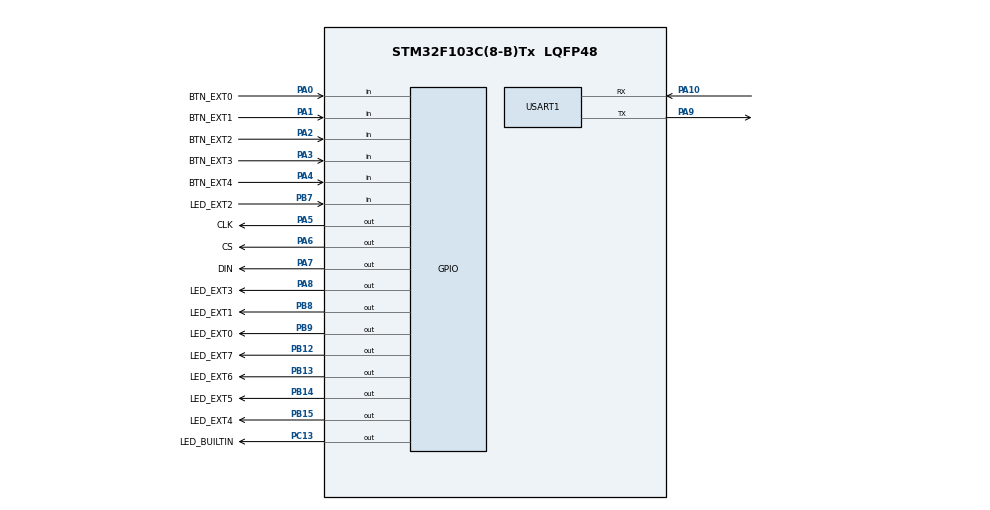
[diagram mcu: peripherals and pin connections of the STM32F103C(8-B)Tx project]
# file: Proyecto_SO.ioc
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FREERTOS.BinarySemaphores01=binarySem_uart,Dynamic,NULL;binarySem_mesa_pedidos_disponible,Dynamic,NULL;binarySem_mesa_hamburguesas_disponible,Dynamic,NULL;binarySem_mesa_ordenes_disponible,Dynamic,NULL;binarySem_mesa_pedidos_ocupada,Dynamic,NULL;binarySem_mesa_hamburguesas_ocupada,Dynamic,NULL;binarySem_mesa_ordenes_ocupada,Dynamic,NULL;binarySem_orden,Dynamic,NULL;binarySem_cocinar_hamburguesas,Dynamic,NULL;binarySem_jungla_disponible,Dynamic,NULL;binarySem_bot_disponible,Dynamic,NULL
FREERTOS.CountingSemaphores01=Sem_lugares_ocupados,1,Dynamic,NULL;Sem_lugares_disponibles,2,Dynamic,NULL;Sem_lugares_mesa_hamburguesa,8,Dynamic,NULL
FREERTOS.Tasks01=produceTask,0,128,produce,Default,NULL,Dynamic,NULL,NULL;consumeTask,0,128,consume,Default,NULL,Dynamic,NULL,NULL;menuTask,2,128,menu,Default,NULL,Dynamic,NULL,NULL;despachadorTask,0,128,despachador,Default,NULL,Dynamic,NULL,NULL;empacadorTask,0,128,empacador,Default,NULL,Dynamic,NULL,NULL;cocineroTask,0,128,cocinero,Default,NULL,Dynamic,NULL,NULL;cajeroTask,0,128,cajero,Default,NULL,Dynamic,NULL,NULL;clienteTask,0,128,cliente,Default,NULL,Dynamic,NULL,NULL;printMatrixTask,1,128,printMatrix,Default,NULL,Dynamic,NULL,NULL;pedir_ayudaTask,1,128,pedir_ayuda,Default,NULL,Dynamic,NULL,NULL;asegurar_zonaTa,1,128,asegurar_zona,Default,NULL,Dynamic,NULL,NULL;matar_dragonTas,1,128,matar_dragon,Default,NULL,Dynamic,NULL,NULL
FREERTOS.configTOTAL_HEAP_SIZE=10240
FREERTOS.configUSE_COUNTING_SEMAPHORES=1
Mcu.Family=STM32F1
Mcu.Name=STM32F103C(8-B)Tx
Mcu.Package=LQFP48
NVIC.PriorityGroup=NVIC_PRIORITYGROUP_4
NVIC.TIM1_UP_IRQn=true\:0\:0\:false\:false\:true\:false\:false\:true
NVIC.TIM2_IRQn=true\:5\:0\:false\:false\:true\:true\:true\:true
NVIC.TimeBase=TIM1_UP_IRQn
NVIC.TimeBaseIP=TIM1
PA0-WKUP.GPIO_Label=BTN_EXT0
PA0-WKUP.GPIO_PuPd=GPIO_PULLUP
PA0-WKUP.Signal=GPIO_Input
PA1.GPIO_Label=BTN_EXT1
PA1.GPIO_Mode=GPIO_MODE_INPUT
PA1.GPIO_PuPd=GPIO_PULLUP
PA1.Signal=GPIO_Input
PA10.Mode=Asynchronous
PA10.Signal=USART1_RX
PA13.Mode=Serial_Wire
PA13.Signal=SYS_JTMS-SWDIO
PA14.Mode=Serial_Wire
PA14.Signal=SYS_JTCK-SWCLK
PA2.GPIO_Label=BTN_EXT2
PA2.GPIO_Mode=GPIO_MODE_INPUT
PA2.GPIO_PuPd=GPIO_PULLUP
PA2.Signal=GPIO_Input
PA3.GPIO_Label=BTN_EXT3
PA3.GPIO_Mode=GPIO_MODE_INPUT
PA3.GPIO_PuPd=GPIO_PULLUP
PA3.Signal=GPIO_Input
PA4.GPIO_Label=BTN_EXT4
PA4.GPIO_Mode=GPIO_MODE_INPUT
PA4.GPIO_PuPd=GPIO_PULLUP
PA4.Signal=GPIO_Input
PA5.GPIO_Label=CLK
PA5.Signal=GPIO_Output
PA6.GPIO_Label=CS
PA6.Signal=GPIO_Output
PA7.GPIO_Label=DIN
PA7.Signal=GPIO_Output
PA8.GPIO_Label=LED_EXT3
PA8.Signal=GPIO_Output
PA9.Mode=Asynchronous
PA9.Signal=USART1_TX
PB12.GPIO_Label=LED_EXT7
PB12.Signal=GPIO_Output
PB13.GPIO_Label=LED_EXT6
PB13.Signal=GPIO_Output
PB14.GPIO_Label=LED_EXT5
PB14.Signal=GPIO_Output
PB15.GPIO_Label=LED_EXT4
PB15.Signal=GPIO_Output
PB7.GPIO_Label=LED_EXT2
PB7.Signal=GPIO_Input
PB8.GPIO_Label=LED_EXT1
PB8.Signal=GPIO_Output
PB9.GPIO_Label=LED_EXT0
PB9.Signal=GPIO_Output
PC13-TAMPER-RTC.GPIO_Label=LED_BUILTIN
PC13-TAMPER-RTC.Signal=GPIO_Output
ProjectManager.HeapSize=0x200
ProjectManager.StackSize=0x400
ProjectManager.TargetToolchain=STM32CubeIDE
RCC.APB1Freq_Value=8000000
RCC.APB2Freq_Value=8000000
TIM2.AutoReloadPreload=TIM_AUTORELOAD_PRELOAD_ENABLE
TIM2.Period=8000-1
TIM2.Prescaler=1000-1
USART1.VirtualMode=VM_ASYNC
VP_FREERTOS_VS_CMSIS_V1.Mode=CMSIS_V1
VP_SYS_VS_tim1.Mode=TIM1
VP_TIM2_VS_ClockSourceINT.Mode=Internal
board=custom

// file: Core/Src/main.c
/* USER CODE BEGIN Header */
/**
  ******************************************************************************
  * @file           : main.c
  * @brief          : Main program body
  ******************************************************************************
  * @attention
  *
  * <h2><center>&copy; Copyright (c) 2021 STMicroelectronics.
  * All rights reserved.</center></h2>
  *
  * This software component is licensed by ST under Ultimate Liberty license
  * SLA0044, the "License"; You may not use this file except in compliance with
  * the License. You may obtain a copy of the License at:
  *                             www.st.com/SLA0044
  *
  ******************************************************************************
  */
/* USER CODE END Header */
#include "main.h"
#include "cmsis_os.h"

/* USER CODE BEGIN Includes */
#include <stdbool.h>
#include <string.h>
/* USER CODE END Includes */

/* USER CODE BEGIN PD */
#define DELAY 300
/* USER CODE END PD */

TIM_HandleTypeDef htim2;

UART_HandleTypeDef huart1;

osThreadId produceTaskHandle;
osThreadId consumeTaskHandle;
osThreadId menuTaskHandle;
osThreadId despachadorTaskHandle;
osThreadId empacadorTaskHandle;
osThreadId cocineroTaskHandle;
osThreadId cajeroTaskHandle;
osThreadId clienteTaskHandle;
osThreadId printMatrixTaskHandle;
osThreadId pedir_ayudaTaskHandle;
osThreadId asegurar_zonaTaHandle;
osThreadId matar_dragonTasHandle;
osSemaphoreId binarySem_uartHandle;
osSemaphoreId binarySem_mesa_pedidos_disponibleHandle;
osSemaphoreId binarySem_mesa_hamburguesas_disponibleHandle;
osSemaphoreId binarySem_mesa_ordenes_disponibleHandle;
osSemaphoreId binarySem_mesa_pedidos_ocupadaHandle;
osSemaphoreId binarySem_mesa_hamburguesas_ocupadaHandle;
osSemaphoreId binarySem_mesa_ordenes_ocupadaHandle;
osSemaphoreId binarySem_ordenHandle;
osSemaphoreId binarySem_cocinar_hamburguesasHandle;
osSemaphoreId binarySem_jungla_disponibleHandle;
osSemaphoreId binarySem_bot_disponibleHandle;
osSemaphoreId Sem_lugares_ocupadosHandle;
osSemaphoreId Sem_lugares_disponiblesHandle;
osSemaphoreId Sem_lugares_mesa_hamburguesaHandle;
/* USER CODE BEGIN PV */
bool run_first_exercise = false, run_second_exercise = false, run_our_exercise = false;
bool zona_asegurada = false, dragon_disponible = true;
uint8_t disp1ay[41][8]={
{0b00000000,0b01111110,0b10000001,0b10000001,0b10000001,0b10000001,0b01111110,0b00000000},
{0b00000000,0b10000000,0b10000100,0b10000010,0b11111111,0b10000000,0b10000000,0b00000000},
{0b00000000,0b10000010,0b11000001,0b10100001,0b10010001,0b10001110,0b00000000,0b00000000},
{0b00000000,0b10000001,0b10000001,0b10011001,0b10011001,0b10100101,0b01100110,0b00000000},
{0b00010000,0b00011000,0b00010100,0b00010010,0b11111111,0b00010000,0b00010000,0b00000000},
{0b00000000,0b10000001,0b10000111,0b10000101,0b10001001,0b11010001,0b01100001,0b00000000},
{0b00000000,0b00000000,0b11111100,0b10010010,0b10010001,0b10010001,0b11110000,0b00000000},
{0b00000000,0b00000000,0b00000011,0b00000001,0b11110001,0b00001001,0b00000111,0b00000000},
{0b00000000,0b11000011,0b10100101,0b10011001,0b10011001,0b10100101,0b11000011,0b00000000},
{0b00000000,0b00000000,0b10001111,0b10001001,0b01001001,0b00101001,0b00011111,0b00000000},
{0x18,0x24,0x42,0x42,0x7E,0x42,0x42,0x42},//A
{0x3C,0x22,0x22,0x3c,0x22,0x22,0x3C,0x0},//B
{0x3C,0x40,0x40,0x40,0x40,0x40,0x40,0x3C},//C
{0x7C,0x22,0x22,0x22,0x22,0x22,0x22,0x7C},//D
{0x7C,0x40,0x40,0x7C,0x40,0x40,0x40,0x7C},//E
{0x7C,0x40,0x40,0x7C,0x40,0x40,0x40,0x40},//F
{0x3C,0x40,0x40,0x40,0x4c,0x44,0x44,0x3C},//G
{0x44,0x44,0x44,0x7C,0x44,0x44,0x44,0x44},//H
{0x7C,0x10,0x10,0x10,0x10,0x10,0x10,0x7C},//I
{0x3C,0x8,0x8,0x8,0x8,0x8,0x48,0x30},//J
{0x0,0x24,0x28,0x30,0x20,0x30,0x28,0x24},//K
{0x40,0x40,0x40,0x40,0x40,0x40,0x40,0x7C},//L
{0x81,0xC3,0xA5,0x99,0x81,0x81,0x81,0x81},//M
{0x0,0x42,0x62,0x52,0x4A,0x46,0x42,0x0},//N
{0x3C,0x42,0x42,0x42,0x42,0x42,0x42,0x3C},//O
{0x3C,0x22,0x22,0x22,0x3C,0x20,0x20,0x20},//P
{0x1C,0x22,0x22,0x22,0x22,0x26,0x22,0x1D},//Q
{0x3C,0x22,0x22,0x22,0x3C,0x24,0x22,0x21},//R
{0x0,0x1E,0x20,0x20,0x3E,0x2,0x2,0x3C},//S
{0x0,0x3E,0x8,0x8,0x8,0x8,0x8,0x8},//T
{0x42,0x42,0x42,0x42,0x42,0x42,0x22,0x1C},//U
{0x42,0x42,0x42,0x42,0x42,0x42,0x24,0x18},//V
{0x0,0x49,0x49,0x49,0x49,0x2A,0x1C,0x0},//W
{0x0,0x41,0x22,0x14,0x8,0x14,0x22,0x41},//X
{0x41,0x22,0x14,0x8,0x8,0x8,0x8,0x8},//Y
{0x0,0x7F,0x2,0x4,0x8,0x10,0x20,0x7F},//Z
{0b00000000,0b00100110,0b00101010,0b00110010,0b00000000,0b00111110,0b00100010,0b00111110},	// SO
{0b00000000,0b00111110,0b00001010,0b00001110,0b00000000,0b00000010,0b00111010,0b00000110},	// P7
{0b00000000,0b00111110,0b00001010,0b00001110,0b00000000,0b00111110,0b00101010,0b00111110},	// P8
{0b00000111,0b00000100,0b01111000,0b01001000,0b01111000,0b00000000,0b11100000,0b10000000},	// LOL
{0b00011100,0b00011000,0b01110000,0b11111110,0b11111100,0b01110100,0b00011000,0b00011100}	// Dragón

};
uint16_t timer_cnt = 0;
/* USER CODE END PV */

void SystemClock_Config(void);
static void MX_GPIO_Init(void);
static void MX_USART1_UART_Init(void);
static void MX_TIM2_Init(void);
void produce(void const * argument);
void consume(void const * argument);
void menu(void const * argument);
void despachador(void const * argument);
void empacador(void const * argument);
void cocinero(void const * argument);
void cajero(void const * argument);
void cliente(void const * argument);
void printMatrix(void const * argument);
void pedir_ayuda(void const * argument);
void asegurar_zona(void const * argument);
void matar_dragon(void const * argument);

/* USER CODE BEGIN PFP */
void write_byte(uint8_t byte);
void write_max(uint8_t address, uint8_t data);
void max_init(void);
void write_string (char *str);
/* USER CODE END PFP */

int main(void)
{

  /* MCU Configuration--------------------------------------------------------*/

  /* Reset of all peripherals, Initializes the Flash interface and the Systick. */
  HAL_Init();

  /* Configure the system clock */
  SystemClock_Config();

  /* Initialize all configured peripherals */
  MX_GPIO_Init();
  MX_USART1_UART_Init();
  MX_TIM2_Init();

  /* Create the semaphores(s) */
  /* definition and creation of binarySem_uart */
  osSemaphoreDef(binarySem_uart);
  binarySem_uartHandle = osSemaphoreCreate(osSemaphore(binarySem_uart), 1);

  /* definition and creation of binarySem_mesa_pedidos_disponible */
  osSemaphoreDef(binarySem_mesa_pedidos_disponible);
  binarySem_mesa_pedidos_disponibleHandle = osSemaphoreCreate(osSemaphore(binarySem_mesa_pedidos_disponible), 1);

  /* definition and creation of binarySem_mesa_hamburguesas_disponible */
  osSemaphoreDef(binarySem_mesa_hamburguesas_disponible);
  binarySem_mesa_hamburguesas_disponibleHandle = osSemaphoreCreate(osSemaphore(binarySem_mesa_hamburguesas_disponible), 1);

  /* definition and creation of binarySem_mesa_ordenes_disponible */
  osSemaphoreDef(binarySem_mesa_ordenes_disponible);
  binarySem_mesa_ordenes_disponibleHandle = osSemaphoreCreate(osSemaphore(binarySem_mesa_ordenes_disponible), 1);

  /* definition and creation of binarySem_mesa_pedidos_ocupada */
  osSemaphoreDef(binarySem_mesa_pedidos_ocupada);
  binarySem_mesa_pedidos_ocupadaHandle = osSemaphoreCreate(osSemaphore(binarySem_mesa_pedidos_ocupada), 1);

  /* definition and creation of binarySem_mesa_hamburguesas_ocupada */
  osSemaphoreDef(binarySem_mesa_hamburguesas_ocupada);
  binarySem_mesa_hamburguesas_ocupadaHandle = osSemaphoreCreate(osSemaphore(binarySem_mesa_hamburguesas_ocupada), 1);

  /* definition and creation of binarySem_mesa_ordenes_ocupada */
  osSemaphoreDef(binarySem_mesa_ordenes_ocupada);
  binarySem_mesa_ordenes_ocupadaHandle = osSemaphoreCreate(osSemaphore(binarySem_mesa_ordenes_ocupada), 1);

  /* definition and creation of binarySem_orden */
  osSemaphoreDef(binarySem_orden);
  binarySem_ordenHandle = osSemaphoreCreate(osSemaphore(binarySem_orden), 1);

  /* definition and creation of binarySem_cocinar_hamburguesas */
  osSemaphoreDef(binarySem_cocinar_hamburguesas);
  binarySem_cocinar_hamburguesasHandle = osSemaphoreCreate(osSemaphore(binarySem_cocinar_hamburguesas), 1);

  /* definition and creation of binarySem_jungla_disponible */
  osSemaphoreDef(binarySem_jungla_disponible);
  binarySem_jungla_disponibleHandle = osSemaphoreCreate(osSemaphore(binarySem_jungla_disponible), 1);

  /* definition and creation of binarySem_bot_disponible */
  osSemaphoreDef(binarySem_bot_disponible);
  binarySem_bot_disponibleHandle = osSemaphoreCreate(osSemaphore(binarySem_bot_disponible), 1);

  /* definition and creation of Sem_lugares_ocupados */
  osSemaphoreDef(Sem_lugares_ocupados);
  Sem_lugares_ocupadosHandle = osSemaphoreCreate(osSemaphore(Sem_lugares_ocupados), 1);

  /* definition and creation of Sem_lugares_disponibles */
  osSemaphoreDef(Sem_lugares_disponibles);
  Sem_lugares_disponiblesHandle = osSemaphoreCreate(osSemaphore(Sem_lugares_disponibles), 2);

  /* definition and creation of Sem_lugares_mesa_hamburguesa */
  osSemaphoreDef(Sem_lugares_mesa_hamburguesa);
  Sem_lugares_mesa_hamburguesaHandle = osSemaphoreCreate(osSemaphore(Sem_lugares_mesa_hamburguesa), 8);

  /* USER CODE BEGIN RTOS_SEMAPHORES */
  /* add semaphores, ... */
  // Ejercicio 7
  osSemaphoreWait(Sem_lugares_ocupadosHandle, osWaitForever);

  // Ejercicio 8
  osSemaphoreWait(binarySem_mesa_pedidos_ocupadaHandle, osWaitForever);
  osSemaphoreWait(binarySem_mesa_hamburguesas_ocupadaHandle, osWaitForever);
  osSemaphoreWait(binarySem_mesa_ordenes_ocupadaHandle, osWaitForever);

  osSemaphoreWait(binarySem_ordenHandle, osWaitForever);
  osSemaphoreWait(binarySem_cocinar_hamburguesasHandle, osWaitForever);

  // Ejercicio propuesto
  max_init();
  for(int i =1; i<9; i++) write_max(i, disp1ay[36][i-1]);
  osSemaphoreWait(binarySem_bot_disponibleHandle, osWaitForever);
  osSemaphoreWait(binarySem_jungla_disponibleHandle, osWaitForever);
  /* USER CODE END RTOS_SEMAPHORES */

  /* Create the thread(s) */
  /* definition and creation of produceTask */
  osThreadDef(produceTask, produce, osPriorityNormal, 0, 128);
  produceTaskHandle = osThreadCreate(osThread(produceTask), NULL);

  /* definition and creation of consumeTask */
  osThreadDef(consumeTask, consume, osPriorityNormal, 0, 128);
  consumeTaskHandle = osThreadCreate(osThread(consumeTask), NULL);

  /* definition and creation of menuTask */
  osThreadDef(menuTask, menu, osPriorityHigh, 0, 128);
  menuTaskHandle = osThreadCreate(osThread(menuTask), NULL);

  /* definition and creation of despachadorTask */
  osThreadDef(despachadorTask, despachador, osPriorityNormal, 0, 128);
  despachadorTaskHandle = osThreadCreate(osThread(despachadorTask), NULL);

  /* definition and creation of empacadorTask */
  osThreadDef(empacadorTask, empacador, osPriorityNormal, 0, 128);
  empacadorTaskHandle = osThreadCreate(osThread(empacadorTask), NULL);

  /* definition and creation of cocineroTask */
  osThreadDef(cocineroTask, cocinero, osPriorityNormal, 0, 128);
  cocineroTaskHandle = osThreadCreate(osThread(cocineroTask), NULL);

  /* definition and creation of cajeroTask */
  osThreadDef(cajeroTask, cajero, osPriorityNormal, 0, 128);
  cajeroTaskHandle = osThreadCreate(osThread(cajeroTask), NULL);

  /* definition and creation of clienteTask */
  osThreadDef(clienteTask, cliente, osPriorityNormal, 0, 128);
  clienteTaskHandle = osThreadCreate(osThread(clienteTask), NULL);

  /* definition and creation of printMatrixTask */
  osThreadDef(printMatrixTask, printMatrix, osPriorityAboveNormal, 0, 128);
  printMatrixTaskHandle = osThreadCreate(osThread(printMatrixTask), NULL);

  /* definition and creation of pedir_ayudaTask */
  osThreadDef(pedir_ayudaTask, pedir_ayuda, osPriorityAboveNormal, 0, 128);
  pedir_ayudaTaskHandle = osThreadCreate(osThread(pedir_ayudaTask), NULL);

  /* definition and creation of asegurar_zonaTa */
  osThreadDef(asegurar_zonaTa, asegurar_zona, osPriorityAboveNormal, 0, 128);
  asegurar_zonaTaHandle = osThreadCreate(osThread(asegurar_zonaTa), NULL);

  /* definition and creation of matar_dragonTas */
  osThreadDef(matar_dragonTas, matar_dragon, osPriorityAboveNormal, 0, 128);
  matar_dragonTasHandle = osThreadCreate(osThread(matar_dragonTas), NULL);

  /* Start scheduler */
  osKernelStart();

  /* We should never get here as control is now taken by the scheduler */
  /* Infinite loop */
  while (1)
  {

  }
}

void SystemClock_Config(void)
{
  RCC_OscInitTypeDef RCC_OscInitStruct = {0};
  RCC_ClkInitTypeDef RCC_ClkInitStruct = {0};

  /** Initializes the RCC Oscillators according to the specified parameters
  * in the RCC_OscInitTypeDef structure.
  */
  RCC_OscInitStruct.OscillatorType = RCC_OSCILLATORTYPE_HSI;
  RCC_OscInitStruct.HSIState = RCC_HSI_ON;
  RCC_OscInitStruct.HSICalibrationValue = RCC_HSICALIBRATION_DEFAULT;
  RCC_OscInitStruct.PLL.PLLState = RCC_PLL_NONE;
  if (HAL_RCC_OscConfig(&RCC_OscInitStruct) != HAL_OK)
  {
    Error_Handler();
  }
  /** Initializes the CPU, AHB and APB buses clocks
  */
  RCC_ClkInitStruct.ClockType = RCC_CLOCKTYPE_HCLK|RCC_CLOCKTYPE_SYSCLK
                              |RCC_CLOCKTYPE_PCLK1|RCC_CLOCKTYPE_PCLK2;
  RCC_ClkInitStruct.SYSCLKSource = RCC_SYSCLKSOURCE_HSI;
  RCC_ClkInitStruct.AHBCLKDivider = RCC_SYSCLK_DIV1;
  RCC_ClkInitStruct.APB1CLKDivider = RCC_HCLK_DIV1;
  RCC_ClkInitStruct.APB2CLKDivider = RCC_HCLK_DIV1;

  if (HAL_RCC_ClockConfig(&RCC_ClkInitStruct, FLASH_LATENCY_0) != HAL_OK)
  {
    Error_Handler();
  }
}

static void MX_TIM2_Init(void)
{

  TIM_ClockConfigTypeDef sClockSourceConfig = {0};
  TIM_MasterConfigTypeDef sMasterConfig = {0};

  htim2.Instance = TIM2;
  htim2.Init.Prescaler = 1000-1;
  htim2.Init.CounterMode = TIM_COUNTERMODE_UP;
  htim2.Init.Period = 8000-1;
  htim2.Init.ClockDivision = TIM_CLOCKDIVISION_DIV1;
  htim2.Init.AutoReloadPreload = TIM_AUTORELOAD_PRELOAD_ENABLE;
  if (HAL_TIM_Base_Init(&htim2) != HAL_OK)
  {
    Error_Handler();
  }
  sClockSourceConfig.ClockSource = TIM_CLOCKSOURCE_INTERNAL;
  if (HAL_TIM_ConfigClockSource(&htim2, &sClockSourceConfig) != HAL_OK)
  {
    Error_Handler();
  }
  sMasterConfig.MasterOutputTrigger = TIM_TRGO_RESET;
  sMasterConfig.MasterSlaveMode = TIM_MASTERSLAVEMODE_DISABLE;
  if (HAL_TIMEx_MasterConfigSynchronization(&htim2, &sMasterConfig) != HAL_OK)
  {
    Error_Handler();
  }

}

static void MX_USART1_UART_Init(void)
{

  huart1.Instance = USART1;
  huart1.Init.BaudRate = 115200;
  huart1.Init.WordLength = UART_WORDLENGTH_8B;
  huart1.Init.StopBits = UART_STOPBITS_1;
  huart1.Init.Parity = UART_PARITY_NONE;
  huart1.Init.Mode = UART_MODE_TX_RX;
  huart1.Init.HwFlowCtl = UART_HWCONTROL_NONE;
  huart1.Init.OverSampling = UART_OVERSAMPLING_16;
  if (HAL_UART_Init(&huart1) != HAL_OK)
  {
    Error_Handler();
  }

}

static void MX_GPIO_Init(void)
{
  GPIO_InitTypeDef GPIO_InitStruct = {0};

  /* GPIO Ports Clock Enable */
  __HAL_RCC_GPIOC_CLK_ENABLE();
  __HAL_RCC_GPIOA_CLK_ENABLE();
  __HAL_RCC_GPIOB_CLK_ENABLE();

  /*Configure GPIO pin Output Level */
  HAL_GPIO_WritePin(LED_BUILTIN_GPIO_Port, LED_BUILTIN_Pin, GPIO_PIN_RESET);

  /*Configure GPIO pin Output Level */
  HAL_GPIO_WritePin(GPIOA, CLK_Pin|CS_Pin|DIN_Pin|LED_EXT3_Pin, GPIO_PIN_RESET);

  /*Configure GPIO pin Output Level */
  HAL_GPIO_WritePin(GPIOB, LED_EXT7_Pin|LED_EXT6_Pin|LED_EXT5_Pin|LED_EXT4_Pin
                          |LED_EXT1_Pin|LED_EXT0_Pin, GPIO_PIN_RESET);

  /*Configure GPIO pin : LED_BUILTIN_Pin */
  GPIO_InitStruct.Pin = LED_BUILTIN_Pin;
  GPIO_InitStruct.Mode = GPIO_MODE_OUTPUT_PP;
  GPIO_InitStruct.Pull = GPIO_NOPULL;
  GPIO_InitStruct.Speed = GPIO_SPEED_FREQ_LOW;
  HAL_GPIO_Init(LED_BUILTIN_GPIO_Port, &GPIO_InitStruct);

  /*Configure GPIO pins : BTN_EXT0_Pin BTN_EXT1_Pin BTN_EXT2_Pin BTN_EXT3_Pin
                           BTN_EXT4_Pin */
  GPIO_InitStruct.Pin = BTN_EXT0_Pin|BTN_EXT1_Pin|BTN_EXT2_Pin|BTN_EXT3_Pin
                          |BTN_EXT4_Pin;
  GPIO_InitStruct.Mode = GPIO_MODE_INPUT;
  GPIO_InitStruct.Pull = GPIO_PULLUP;
  HAL_GPIO_Init(GPIOA, &GPIO_InitStruct);

  /*Configure GPIO pins : CLK_Pin CS_Pin DIN_Pin LED_EXT3_Pin */
  GPIO_InitStruct.Pin = CLK_Pin|CS_Pin|DIN_Pin|LED_EXT3_Pin;
  GPIO_InitStruct.Mode = GPIO_MODE_OUTPUT_PP;
  GPIO_InitStruct.Pull = GPIO_NOPULL;
  GPIO_InitStruct.Speed = GPIO_SPEED_FREQ_LOW;
  HAL_GPIO_Init(GPIOA, &GPIO_InitStruct);

  /*Configure GPIO pins : LED_EXT7_Pin LED_EXT6_Pin LED_EXT5_Pin LED_EXT4_Pin
                           LED_EXT1_Pin LED_EXT0_Pin */
  GPIO_InitStruct.Pin = LED_EXT7_Pin|LED_EXT6_Pin|LED_EXT5_Pin|LED_EXT4_Pin
                          |LED_EXT1_Pin|LED_EXT0_Pin;
  GPIO_InitStruct.Mode = GPIO_MODE_OUTPUT_PP;
  GPIO_InitStruct.Pull = GPIO_NOPULL;
  GPIO_InitStruct.Speed = GPIO_SPEED_FREQ_LOW;
  HAL_GPIO_Init(GPIOB, &GPIO_InitStruct);

  /*Configure GPIO pin : LED_EXT2_Pin */
  GPIO_InitStruct.Pin = LED_EXT2_Pin;
  GPIO_InitStruct.Mode = GPIO_MODE_INPUT;
  GPIO_InitStruct.Pull = GPIO_NOPULL;
  HAL_GPIO_Init(LED_EXT2_GPIO_Port, &GPIO_InitStruct);

}

/* USER CODE BEGIN 4 */
void write_byte(uint8_t byte){
	for(int i=0;i<8;i++){
		 HAL_GPIO_WritePin(CLK_GPIO_Port, CLK_Pin, 0);  			// Pull the CLK LOW
		 HAL_GPIO_WritePin(DIN_GPIO_Port, DIN_Pin, byte&0x80);		// Write one BIT data MSB first
		 byte = byte<<1;  											// Shift the data to the left
		 HAL_GPIO_WritePin(CLK_GPIO_Port, CLK_Pin, 1);  			// Pull the CLK HIGH
	   }
}
void write_max(uint8_t address, uint8_t data){
	HAL_GPIO_WritePin(CS_GPIO_Port, CS_Pin, 0);   					// Pull the CS pin LOW
	write_byte(address);   											// Write address
	write_byte(data);  												// Write data
	HAL_GPIO_WritePin(CS_GPIO_Port, CS_Pin, 1);  					// Pull the CS HIGH
}
void max_init(void){
	write_max(0x09, 0x00);       									//  no decoding
	write_max(0x0a, 0x00);       									//  brightness intensity
	write_max(0x0b, 0x07);       									//  scan limit = 8 LEDs
	write_max(0x0c, 0x01);       									//  power down =0，normal mode = 1
	write_max(0x0f, 0x00);      									//  no test display
}
void write_string(char *str){
	while (*str){
		for(int i=1;i<9;i++) write_max(i,disp1ay[(*str - 55)][i-1]);
		*str++;
		osDelay(400);
	}
}
/* USER CODE END 4 */

void produce(void const * argument)
{
  /* USER CODE BEGIN 5 */
	char *proceso_actual = "a";
  /* Infinite loop */
  for(;;)
  {
	  if(run_first_exercise){
		  osSemaphoreWait(Sem_lugares_disponiblesHandle, osWaitForever);			// p(disponibles)

		  // ---------------------------------------------------------------------------------------

		  osSemaphoreWait(binarySem_uartHandle, osWaitForever);				// p(sem)
		  HAL_UART_Transmit(&huart1, (uint8_t *) proceso_actual, strlen(proceso_actual), 1000);
		  osSemaphoreRelease(binarySem_uartHandle);							// v(sem)

		  // ---------------------------------------------------------------------------------------

		  osSemaphoreRelease(Sem_lugares_ocupadosHandle);							// v(ocupados)

		  osDelay(500);
	  }
  }
  /* USER CODE END 5 */
}

void consume(void const * argument)
{
  /* USER CODE BEGIN consume */
	char *proceso_actual = "b";
  /* Infinite loop */
	  for(;;)
	  {

		  if(run_first_exercise){

			  osSemaphoreWait(Sem_lugares_ocupadosHandle, osWaitForever);					// p(ocupados)
			  osSemaphoreWait(Sem_lugares_ocupadosHandle, osWaitForever);					// p(ocupados)

			  // ---------------------------------------------------------------------------------------

			  osSemaphoreWait(binarySem_uartHandle, osWaitForever);					// p(sem)
			  HAL_UART_Transmit(&huart1, (uint8_t *) proceso_actual, strlen(proceso_actual), 1000);
			  osSemaphoreRelease(binarySem_uartHandle);								// v(sem)

			  // ---------------------------------------------------------------------------------------

			  osSemaphoreRelease(Sem_lugares_disponiblesHandle);							// v(disponibles)
			  osSemaphoreRelease(Sem_lugares_disponiblesHandle);							// v(disponibles)

			  osDelay(500);
		  }
	  }
  /* USER CODE END consume */
}

void menu(void const * argument)
{
  /* USER CODE BEGIN menu */
  /* Infinite loop */
  for(;;)
  {
	  if(!HAL_GPIO_ReadPin(BTN_EXT2_GPIO_Port, BTN_EXT2_Pin)){
		  // 1
		  // osSemaphoreRelease(binarySem_ejercicio_sieteHandle);

		  /* Indicadores */
		  HAL_GPIO_TogglePin(LED_EXT0_GPIO_Port, LED_EXT0_Pin);
		  HAL_GPIO_WritePin(LED_EXT1_GPIO_Port, LED_EXT1_Pin, GPIO_PIN_RESET);
		  HAL_GPIO_WritePin(LED_EXT2_GPIO_Port, LED_EXT2_Pin, GPIO_PIN_RESET);

		  /* Banderas */
		  run_first_exercise = !run_first_exercise;
		  run_second_exercise = false;
		  run_our_exercise = false;

		  for(int i=1; i<9; i++) write_max(i, disp1ay[37][i-1]);
	  }
	  if(!HAL_GPIO_ReadPin(BTN_EXT3_GPIO_Port, BTN_EXT3_Pin)){
		  // 2

		  /* Indicadores */
		  HAL_GPIO_WritePin(LED_EXT0_GPIO_Port, LED_EXT0_Pin, GPIO_PIN_RESET);
		  HAL_GPIO_TogglePin(LED_EXT1_GPIO_Port, LED_EXT1_Pin);
		  HAL_GPIO_WritePin(LED_EXT2_GPIO_Port, LED_EXT2_Pin, GPIO_PIN_RESET);

		  /* Banderas */
		  run_first_exercise = false;
		  run_second_exercise = !run_second_exercise;
		  run_our_exercise = false;

		  for(int i=1; i<9; i++) write_max(i, disp1ay[38][i-1]);
	  }
	  if(!HAL_GPIO_ReadPin(BTN_EXT4_GPIO_Port, BTN_EXT4_Pin)){
		  // 3

		  /* Indicadores */
		  HAL_GPIO_WritePin(LED_EXT0_GPIO_Port, LED_EXT0_Pin, GPIO_PIN_RESET);
		  HAL_GPIO_WritePin(LED_EXT1_GPIO_Port, LED_EXT1_Pin, GPIO_PIN_RESET);
		  HAL_GPIO_TogglePin(LED_EXT2_GPIO_Port, LED_EXT2_Pin);

		  /* Banderas */
		  run_first_exercise = false;
		  run_second_exercise = false;
		  run_our_exercise = !run_our_exercise;

		  for(int i=1; i<9; i++) write_max(i, disp1ay[39][i-1]);

	  }
	 osDelay(200);
  }
  /* USER CODE END menu */
}

void despachador(void const * argument)
{
  /* USER CODE BEGIN despachador */
	char *proceso_actual = "c";
  /* Infinite loop */
	  for(;;)
	  {
		  if(run_second_exercise){
			  osSemaphoreWait(binarySem_ordenHandle, osWaitForever);									// p(sem)
			  osSemaphoreWait(binarySem_mesa_ordenes_disponibleHandle, osWaitForever);					// p(sem)

			  // ---------------------------------------------------------------------------------------

			  osSemaphoreWait(binarySem_uartHandle, osWaitForever);					// p(sem)
			  HAL_UART_Transmit(&huart1, (uint8_t *) proceso_actual, strlen(proceso_actual), 1000);
			  osSemaphoreRelease(binarySem_uartHandle);								// v(sem)
			  osDelay(DELAY);

			  // ---------------------------------------------------------------------------------------
			  osSemaphoreRelease(binarySem_cocinar_hamburguesasHandle);
			  osSemaphoreRelease(binarySem_mesa_ordenes_ocupadaHandle);
		  }

	  }
  /* USER CODE END despachador */
}

void empacador(void const * argument)
{
  /* USER CODE BEGIN empacador */
	char *proceso_actual = "d";
  /* Infinite loop */
	  for(;;)
	  {
		  if(run_second_exercise){

			  osSemaphoreWait(binarySem_mesa_ordenes_ocupadaHandle,osWaitForever);
			  osSemaphoreWait(binarySem_mesa_hamburguesas_ocupadaHandle,osWaitForever);

			  // ---------------------------------------------------------------------------------------

			  osSemaphoreWait(binarySem_uartHandle, osWaitForever);					// p(sem)
			  HAL_UART_Transmit(&huart1, (uint8_t *) proceso_actual, strlen(proceso_actual), 1000);
			  osSemaphoreRelease(binarySem_uartHandle);								// v(sem)
			  osDelay(DELAY);

			  // ---------------------------------------------------------------------------------------

			  osSemaphoreRelease(binarySem_mesa_hamburguesas_disponibleHandle);
			  osSemaphoreRelease(binarySem_mesa_ordenes_disponibleHandle);
			  osSemaphoreRelease(binarySem_mesa_pedidos_ocupadaHandle);

		  }

	  }
  /* USER CODE END empacador */
}

void cocinero(void const * argument)
{
  /* USER CODE BEGIN cocinero */
	char *proceso_actual = "e";
  /* Infinite loop */
	  for(;;)
	  {
		  if(run_second_exercise){

			  // osSemaphoreWait(Sem_lugares_mesa_hamburguesaHandle, osWaitForever);
			  osSemaphoreWait(binarySem_cocinar_hamburguesasHandle, osWaitForever);
			  osSemaphoreWait(binarySem_mesa_hamburguesas_disponibleHandle, osWaitForever);

			  // ---------------------------------------------------------------------------------------

			  osSemaphoreWait(binarySem_uartHandle, osWaitForever);					// p(sem)
			  HAL_UART_Transmit(&huart1, (uint8_t *) proceso_actual, strlen(proceso_actual), 1000);
			  osSemaphoreRelease(binarySem_uartHandle);								// v(sem)
			  osDelay(DELAY);

			  // ---------------------------------------------------------------------------------------

			  osSemaphoreRelease(binarySem_mesa_hamburguesas_ocupadaHandle);
		  }
	  }
  /* USER CODE END cocinero */
}

void cajero(void const * argument)
{
  /* USER CODE BEGIN cajero */
	char *proceso_actual = "f";
  /* Infinite loop */
	  for(;;)
	  {
		  if(run_second_exercise){

			  osSemaphoreWait(binarySem_mesa_pedidos_ocupadaHandle, osWaitForever);

			  // ---------------------------------------------------------------------------------------

			  osSemaphoreWait(binarySem_uartHandle, osWaitForever);					// p(sem)
			  HAL_UART_Transmit(&huart1, (uint8_t *) proceso_actual, strlen(proceso_actual), 1000);
			  osSemaphoreRelease(binarySem_uartHandle);								// v(sem)
			  osDelay(DELAY);

			  // ---------------------------------------------------------------------------------------

			  osSemaphoreRelease(binarySem_mesa_pedidos_disponibleHandle);

		  }
	  }
  /* USER CODE END cajero */
}

void cliente(void const * argument)
{
  /* USER CODE BEGIN cliente */
	char *proceso_actual = "g";
  /* Infinite loop */
	  for(;;)
	  {
		  if(run_second_exercise && !HAL_GPIO_ReadPin(BTN_EXT0_GPIO_Port, BTN_EXT0_Pin)){
				  // ---------------------------------------------------------------------------------------

				  osSemaphoreWait(binarySem_uartHandle, osWaitForever);					// p(sem)
				  HAL_UART_Transmit(&huart1, (uint8_t *) proceso_actual, strlen(proceso_actual), 1000);
				  osSemaphoreRelease(binarySem_uartHandle);								// v(sem)
				  osDelay(DELAY);

				  // ---------------------------------------------------------------------------------------

				  osSemaphoreRelease(binarySem_ordenHandle);								// v(sem)
		  }
		  osDelay(200);
	  }
  /* USER CODE END cliente */
}

void printMatrix(void const * argument)
{
  /* USER CODE BEGIN printMatrix */
  /* Infinite loop */
  for(;;)
  {
	  if(run_our_exercise){
		  // for(int i=1; i<9; i++) write_max(i, disp1ay[matrix_cnt][i-1]);
		  // matrix_cnt = (matrix_cnt > 0 ? matrix_cnt-1 : 9);
		  osDelay(400);
		  // write_string("JOTO");

	  }else{
		osDelay(400);
	  }
  }
  /* USER CODE END printMatrix */
}

void pedir_ayuda(void const * argument){
  /* USER CODE BEGIN pedir_ayuda */
	char *proceso_actual = "h";
  /* Infinite loop */
  for(;;){
	  if(run_our_exercise && !HAL_GPIO_ReadPin(BTN_EXT0_GPIO_Port, BTN_EXT0_Pin)){

		  // ---------------------------------------------------------------------------------------

		  osSemaphoreWait(binarySem_uartHandle, osWaitForever);
		  HAL_UART_Transmit(&huart1, (uint8_t *) proceso_actual, strlen(proceso_actual), 1000);
		  osSemaphoreRelease(binarySem_uartHandle);
		  osDelay(DELAY);

		  // ---------------------------------------------------------------------------------------

		  osSemaphoreRelease(binarySem_jungla_disponibleHandle);
		  osSemaphoreRelease(binarySem_bot_disponibleHandle);

	  }
    osDelay(400);
  }
  /* USER CODE END pedir_ayuda */
}

void asegurar_zona(void const * argument)
{
  /* USER CODE BEGIN asegurar_zona */
	char *proceso_actual = "i";
  /* Infinite loop */
	for(;;){
		if(run_our_exercise){
			osSemaphoreWait(binarySem_jungla_disponibleHandle, osWaitForever);
			osSemaphoreWait(binarySem_bot_disponibleHandle, osWaitForever);

			// ---------------------------------------------------------------------------------------

			osSemaphoreWait(binarySem_uartHandle, osWaitForever);
			HAL_UART_Transmit(&huart1, (uint8_t *) proceso_actual, strlen(proceso_actual), 1000);
			osSemaphoreRelease(binarySem_uartHandle);

			// ---------------------------------------------------------------------------------------

			HAL_TIM_Base_Start_IT(&htim2);

		}
		osDelay(400);
	}
  /* USER CODE END asegurar_zona */
}

void matar_dragon(void const * argument)
{
  /* USER CODE BEGIN matar_dragon */
	char *proceso_actual = "j";
  /* Infinite loop */
	for(;;){
		if(run_our_exercise && zona_asegurada){
			zona_asegurada = false;

			osSemaphoreWait(binarySem_uartHandle, osWaitForever);
			HAL_UART_Transmit(&huart1, (uint8_t *) proceso_actual, strlen(proceso_actual), 1000);
			osSemaphoreRelease(binarySem_uartHandle);
			osDelay(DELAY);

			dragon_disponible = false;
			HAL_TIM_Base_Start_IT(&htim2);

		}
		osDelay(400);
	}
  /* USER CODE END matar_dragon */
}

void HAL_TIM_PeriodElapsedCallback(TIM_HandleTypeDef *htim)
{
  if (htim->Instance == TIM1) {
    HAL_IncTick();
  }
  /* USER CODE BEGIN Callback 1 */
  if ( htim->Instance == TIM2 ){
	timer_cnt++;

	switch(timer_cnt){
		case 4:
			zona_asegurada = true;
			HAL_TIM_Base_Stop_IT(&htim2);
			break;
		case 10:
			dragon_disponible = true;
			timer_cnt = 0;
			for(int i=1; i<9; i++) write_max(i, disp1ay[40][i-1]);
			HAL_TIM_Base_Stop_IT(&htim2);
			break;
		default:
			break;

	}

  }
  /* USER CODE END Callback 1 */
}

void Error_Handler(void)
{
}

/************************ (C) COPYRIGHT STMicroelectronics *****END OF FILE****/
